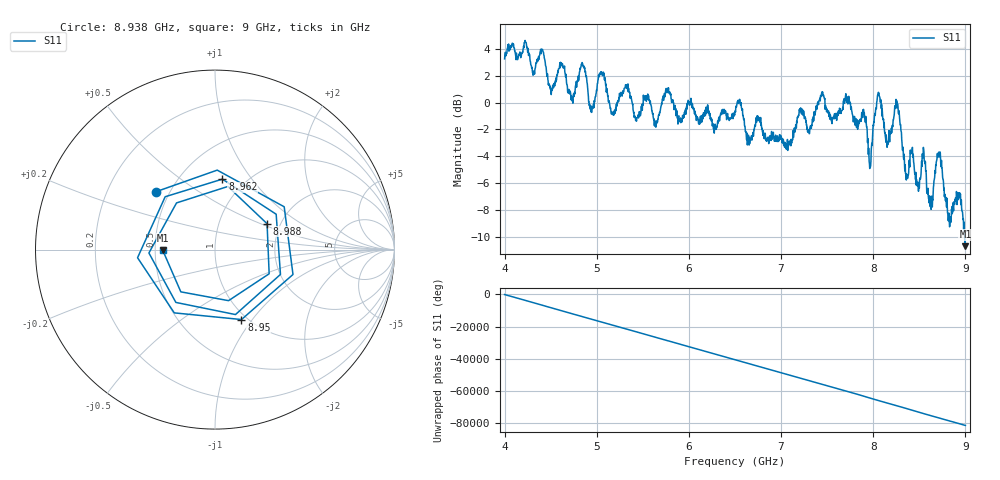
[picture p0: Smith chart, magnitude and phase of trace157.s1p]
! Created with skrf 1.8.0 (http://scikit-rf.org).
# Hz S RI R 50.0
!freq ReS11 ImS11
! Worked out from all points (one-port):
!   1601 points, 4 GHz to 9 GHz, reference 50 ohm
!   lowest |S11| = -10.7 dB at 9 GHz (marker M1), VSWR 1.82, Z = 27.4 - j0.172 ohm
!   |S11| at or under -10 dB: 8.992139 GHz to end of sweep
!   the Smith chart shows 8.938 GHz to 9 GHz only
!   S11 on the Smith chart (normalised r, x): 8.938 GHz: 0.42, +0.34; 8.95 GHz: 0.94, -0.89; 8.962 GHz: 0.79, +0.73; 8.988 GHz: 1.71, +0.55; 9 GHz: 0.55, -0.00
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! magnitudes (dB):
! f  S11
! 4 GHz  3.3
! 4.506 GHz  0.6
! 4.625 GHz  2.9
! 4.734 GHz  0.2
! 4.853 GHz  2.7
! 4.944 GHz  -0.7
! 5.053 GHz  2.3
! 5.162 GHz  -0.9
! 5.25 GHz  0.4
! 5.875 GHz  -1.2
! 6.5 GHz  -0.6
! 7.125 GHz  -2.8
! 7.441 GHz  0.7
! 7.75 GHz  -0.1
! 7.962 GHz  -4.9
! 8.056 GHz  0.8
! 8.156 GHz  -3.2
! 8.256 GHz  -0.4
! 8.375 GHz  -5.6
! 8.55 GHz  -3.7
! 8.622 GHz  -7.2
! 8.716 GHz  -3.8
! 8.822 GHz  -8.2
! 8.938 GHz  -6.7
! 8.95 GHz  -7.6
! 8.962 GHz  -8.1
! 8.988 GHz  -9.8
! 9 GHz  -10.7
